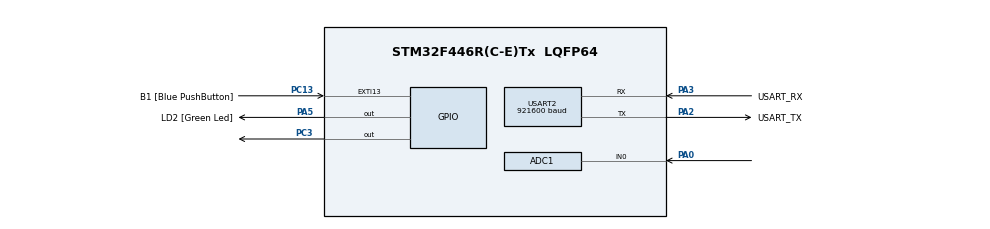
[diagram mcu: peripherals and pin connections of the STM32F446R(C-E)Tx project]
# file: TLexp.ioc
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ADC1.Channel-2\#ChannelRegularConversion=ADC_CHANNEL_0
ADC1.ExternalTrigConv=ADC_EXTERNALTRIGCONV_T2_TRGO
ADC1.InjNumberOfConversion=0
ADC1.NbrOfConversionFlag=1
ADC1.Rank-2\#ChannelRegularConversion=1
ADC1.SamplingTime-2\#ChannelRegularConversion=ADC_SAMPLETIME_56CYCLES
ADC1.master=1
Mcu.Family=STM32F4
Mcu.Name=STM32F446R(C-E)Tx
Mcu.Package=LQFP64
NVIC.ADC_IRQn=true\:0\:0\:false\:false\:true\:true\:true\:true
NVIC.PriorityGroup=NVIC_PRIORITYGROUP_0
NVIC.TIM2_IRQn=true\:0\:0\:false\:false\:true\:true\:true\:true
PA0-WKUP.Signal=ADCx_IN0
PA13.GPIO_Label=TMS
PA13.Mode=Serial_Wire
PA13.Signal=SYS_JTMS-SWDIO
PA14.GPIO_Label=TCK
PA14.Mode=Serial_Wire
PA14.Signal=SYS_JTCK-SWCLK
PA2.GPIO_Label=USART_TX
PA2.Mode=Asynchronous
PA2.Signal=USART2_TX
PA3.GPIO_Label=USART_RX
PA3.Mode=Asynchronous
PA3.Signal=USART2_RX
PA5.GPIO_Label=LD2 [Green Led]
PA5.Signal=GPIO_Output
PB3.GPIO_Label=SWO
PB3.Signal=SYS_JTDO-SWO
PC13.GPIO_Label=B1 [Blue PushButton]
PC13.GPIO_ModeDefaultEXTI=GPIO_MODE_IT_FALLING
PC13.Signal=GPXTI13
PC14-OSC32_IN.Mode=LSE-External-Oscillator
PC14-OSC32_IN.Signal=RCC_OSC32_IN
PC15-OSC32_OUT.Mode=LSE-External-Oscillator
PC15-OSC32_OUT.Signal=RCC_OSC32_OUT
PC3.GPIO_PuPd=GPIO_PULLDOWN
PC3.GPIO_Speed=GPIO_SPEED_FREQ_VERY_HIGH
PC3.PinState=GPIO_PIN_RESET
PC3.Signal=GPIO_Output
PH0-OSC_IN.Mode=HSE-External-Oscillator
PH0-OSC_IN.Signal=RCC_OSC_IN
PH1-OSC_OUT.Mode=HSE-External-Oscillator
PH1-OSC_OUT.Signal=RCC_OSC_OUT
ProjectManager.HeapSize=0x200
ProjectManager.StackSize=0x400
ProjectManager.TargetToolchain=STM32CubeIDE
RCC.CortexFreq_Value=16000000
RCC.USBFreq_Value=96000000
RCC.VCOOutputFreq_Value=192000000
SH.ADCx_IN0.0=ADC1_IN0,IN0
TIM2.Period=179
TIM2.Prescaler=0
TIM2.TIM_MasterOutputTrigger=TIM_TRGO_UPDATE
TIM2.TIM_MasterSlaveMode=TIM_MASTERSLAVEMODE_ENABLE
TIM3.Period=59999
TIM3.Prescaler=2
USART2.BaudRate=921600
USART2.VirtualMode=VM_ASYNC
VP_TIM2_VS_ClockSourceINT.Mode=Internal
VP_TIM3_VS_ClockSourceINT.Mode=Internal
board=NUCLEO-F446RE

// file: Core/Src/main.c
/* USER CODE BEGIN Header */
/**
  ******************************************************************************
  * @file           : main.c
  * @brief          : Main program body
  ******************************************************************************
  * @attention
  *
  * Copyright (c) 2024 STMicroelectronics.
  * All rights reserved.
  *
  * This software is licensed under terms that can be found in the LICENSE file
  * in the root directory of this software component.
  * If no LICENSE file comes with this software, it is provided AS-IS.
  *
  ******************************************************************************
  */
/* USER CODE END Header */
#include "main.h"

/* USER CODE BEGIN Includes */
#include <stdio.h>
#include <stdint.h>
#include <stdlib.h>
#include <math.h>
#include <inttypes.h>
/* USER CODE END Includes */

/* USER CODE BEGIN PD */
#define STRETCH_BUFFER_SIZE 5
/* USER CODE END PD */

ADC_HandleTypeDef hadc1;

TIM_HandleTypeDef htim2;
TIM_HandleTypeDef htim3;

UART_HandleTypeDef huart2;

/* USER CODE BEGIN PV */
volatile uint8_t Tim2Flag = 0;
volatile uint8_t Tim3Flag = 0;
volatile uint8_t stretch_status = 0;
volatile uint8_t adcFlag = 0;

uint32_t adc1ch0 = 0;
uint16_t adc_stretch = 0;
uint16_t stretch = 0;
uint16_t vmax = 4069; // 3.267V 99% charged
uint16_t vtau = 1507; // 1.2144V 63.2% discharge
uint32_t resistance = 1000000;

uint16_t stretch_buffer[STRETCH_BUFFER_SIZE] = {0};
uint8_t buffer_index = 0;
uint16_t cgtime = 0;
/* USER CODE END PV */

void SystemClock_Config(void);
static void MX_GPIO_Init(void);
static void MX_USART2_UART_Init(void);
static void MX_TIM2_Init(void);
static void MX_TIM3_Init(void);
static void MX_ADC1_Init(void);
/* USER CODE BEGIN PFP */
int _write(int file, char* p, int len){
	HAL_UART_Transmit(&huart2, p, len, 10);
	return len;
}
/* USER CODE END PFP */

int main(void)
{

  /* MCU Configuration--------------------------------------------------------*/

  /* Reset of all peripherals, Initializes the Flash interface and the Systick. */
  HAL_Init();

  /* Configure the system clock */
  SystemClock_Config();

  /* Initialize all configured peripherals */
  MX_GPIO_Init();
  MX_USART2_UART_Init();
  MX_TIM2_Init();
  MX_TIM3_Init();
  MX_ADC1_Init();
  /* USER CODE BEGIN 2 */
  HAL_TIM_Base_Start_IT(&htim2);
  HAL_TIM_Base_Start_IT(&htim3);
  HAL_ADC_Start_IT(&hadc1);
  stretch_status = 0;
  /* USER CODE END 2 */

  /* Infinite loop */
  /* USER CODE BEGIN WHILE */
  while (1)
  {
	  //printf("%"PRIu16 "\r\n", adc_stretch);
	  if (adcFlag == 1){
		  adc_stretch = HAL_ADC_GetValue(&hadc1);
		  adcFlag = 0;
		  printf("%"PRIu16 "\r\n", adc_stretch);
		  if (stretch_status == 1){
			  cgtime++;
			  //printf("%"PRIu16 "\r\n", cgtime);
		  }

		  if (adc_stretch >= vmax && stretch_status == 0){
			  HAL_GPIO_WritePin(GPIOC, GPIO_PIN_3, GPIO_PIN_RESET); //Discharging
			  stretch_status = 1; //Sensing start
			  //printf("Hello World!\r\n");
		  }
		  else if (adc_stretch <= vtau && stretch_status == 1){
			  stretch_buffer[buffer_index] = cgtime; //Store data in the buffer
			  buffer_index++;
			  HAL_GPIO_WritePin(GPIOC, GPIO_PIN_3, GPIO_PIN_SET); //Charging
			  cgtime = 0;
			  stretch_status = 0; //Sensing finish
		  }

		  if (buffer_index == STRETCH_BUFFER_SIZE){
			  uint16_t sum = 0;
			  for(int i = 0; i < STRETCH_BUFFER_SIZE; i++){
				  sum += stretch_buffer[i];
			  }
			  stretch = sum / STRETCH_BUFFER_SIZE;
			  //printf("%"PRIu16 "\r\n", stretch);
			  for(int i = 0; i < STRETCH_BUFFER_SIZE; i++){
				  stretch_buffer[i] = 0;
			  }
			  buffer_index = 0;
		  }
	  }

    /* USER CODE END WHILE */

  }
}

void SystemClock_Config(void)
{
  RCC_OscInitTypeDef RCC_OscInitStruct = {0};
  RCC_ClkInitTypeDef RCC_ClkInitStruct = {0};

  /** Configure the main internal regulator output voltage
  */
  __HAL_RCC_PWR_CLK_ENABLE();
  __HAL_PWR_VOLTAGESCALING_CONFIG(PWR_REGULATOR_VOLTAGE_SCALE3);

  /** Initializes the RCC Oscillators according to the specified parameters
  * in the RCC_OscInitTypeDef structure.
  */
  RCC_OscInitStruct.OscillatorType = RCC_OSCILLATORTYPE_HSI;
  RCC_OscInitStruct.HSIState = RCC_HSI_ON;
  RCC_OscInitStruct.HSICalibrationValue = RCC_HSICALIBRATION_DEFAULT;
  RCC_OscInitStruct.PLL.PLLState = RCC_PLL_NONE;
  if (HAL_RCC_OscConfig(&RCC_OscInitStruct) != HAL_OK)
  {
    Error_Handler();
  }

  /** Initializes the CPU, AHB and APB buses clocks
  */
  RCC_ClkInitStruct.ClockType = RCC_CLOCKTYPE_HCLK|RCC_CLOCKTYPE_SYSCLK
                              |RCC_CLOCKTYPE_PCLK1|RCC_CLOCKTYPE_PCLK2;
  RCC_ClkInitStruct.SYSCLKSource = RCC_SYSCLKSOURCE_HSI;
  RCC_ClkInitStruct.AHBCLKDivider = RCC_SYSCLK_DIV1;
  RCC_ClkInitStruct.APB1CLKDivider = RCC_HCLK_DIV1;
  RCC_ClkInitStruct.APB2CLKDivider = RCC_HCLK_DIV1;

  if (HAL_RCC_ClockConfig(&RCC_ClkInitStruct, FLASH_LATENCY_0) != HAL_OK)
  {
    Error_Handler();
  }
}

static void MX_ADC1_Init(void)
{

  ADC_ChannelConfTypeDef sConfig = {0};

  /** Configure the global features of the ADC (Clock, Resolution, Data Alignment and number of conversion)
  */
  hadc1.Instance = ADC1;
  hadc1.Init.ClockPrescaler = ADC_CLOCK_SYNC_PCLK_DIV2;
  hadc1.Init.Resolution = ADC_RESOLUTION_12B;
  hadc1.Init.ScanConvMode = DISABLE;
  hadc1.Init.ContinuousConvMode = DISABLE;
  hadc1.Init.DiscontinuousConvMode = DISABLE;
  hadc1.Init.ExternalTrigConvEdge = ADC_EXTERNALTRIGCONVEDGE_RISING;
  hadc1.Init.ExternalTrigConv = ADC_EXTERNALTRIGCONV_T2_TRGO;
  hadc1.Init.DataAlign = ADC_DATAALIGN_RIGHT;
  hadc1.Init.NbrOfConversion = 1;
  hadc1.Init.DMAContinuousRequests = DISABLE;
  hadc1.Init.EOCSelection = ADC_EOC_SINGLE_CONV;
  if (HAL_ADC_Init(&hadc1) != HAL_OK)
  {
    Error_Handler();
  }

  /** Configure for the selected ADC regular channel its corresponding rank in the sequencer and its sample time.
  */
  sConfig.Channel = ADC_CHANNEL_0;
  sConfig.Rank = 1;
  sConfig.SamplingTime = ADC_SAMPLETIME_56CYCLES;
  if (HAL_ADC_ConfigChannel(&hadc1, &sConfig) != HAL_OK)
  {
    Error_Handler();
  }

}

static void MX_TIM2_Init(void)
{

  TIM_ClockConfigTypeDef sClockSourceConfig = {0};
  TIM_MasterConfigTypeDef sMasterConfig = {0};

  htim2.Instance = TIM2;
  htim2.Init.Prescaler = 0;
  htim2.Init.CounterMode = TIM_COUNTERMODE_UP;
  htim2.Init.Period = 179;
  htim2.Init.ClockDivision = TIM_CLOCKDIVISION_DIV1;
  htim2.Init.AutoReloadPreload = TIM_AUTORELOAD_PRELOAD_DISABLE;
  if (HAL_TIM_Base_Init(&htim2) != HAL_OK)
  {
    Error_Handler();
  }
  sClockSourceConfig.ClockSource = TIM_CLOCKSOURCE_INTERNAL;
  if (HAL_TIM_ConfigClockSource(&htim2, &sClockSourceConfig) != HAL_OK)
  {
    Error_Handler();
  }
  sMasterConfig.MasterOutputTrigger = TIM_TRGO_UPDATE;
  sMasterConfig.MasterSlaveMode = TIM_MASTERSLAVEMODE_ENABLE;
  if (HAL_TIMEx_MasterConfigSynchronization(&htim2, &sMasterConfig) != HAL_OK)
  {
    Error_Handler();
  }

}

static void MX_TIM3_Init(void)
{

  TIM_ClockConfigTypeDef sClockSourceConfig = {0};
  TIM_MasterConfigTypeDef sMasterConfig = {0};

  htim3.Instance = TIM3;
  htim3.Init.Prescaler = 2;
  htim3.Init.CounterMode = TIM_COUNTERMODE_UP;
  htim3.Init.Period = 59999;
  htim3.Init.ClockDivision = TIM_CLOCKDIVISION_DIV1;
  htim3.Init.AutoReloadPreload = TIM_AUTORELOAD_PRELOAD_DISABLE;
  if (HAL_TIM_Base_Init(&htim3) != HAL_OK)
  {
    Error_Handler();
  }
  sClockSourceConfig.ClockSource = TIM_CLOCKSOURCE_INTERNAL;
  if (HAL_TIM_ConfigClockSource(&htim3, &sClockSourceConfig) != HAL_OK)
  {
    Error_Handler();
  }
  sMasterConfig.MasterOutputTrigger = TIM_TRGO_RESET;
  sMasterConfig.MasterSlaveMode = TIM_MASTERSLAVEMODE_DISABLE;
  if (HAL_TIMEx_MasterConfigSynchronization(&htim3, &sMasterConfig) != HAL_OK)
  {
    Error_Handler();
  }

}

static void MX_USART2_UART_Init(void)
{

  huart2.Instance = USART2;
  huart2.Init.BaudRate = 921600;
  huart2.Init.WordLength = UART_WORDLENGTH_8B;
  huart2.Init.StopBits = UART_STOPBITS_1;
  huart2.Init.Parity = UART_PARITY_NONE;
  huart2.Init.Mode = UART_MODE_TX_RX;
  huart2.Init.HwFlowCtl = UART_HWCONTROL_NONE;
  huart2.Init.OverSampling = UART_OVERSAMPLING_16;
  if (HAL_UART_Init(&huart2) != HAL_OK)
  {
    Error_Handler();
  }

}

static void MX_GPIO_Init(void)
{
  GPIO_InitTypeDef GPIO_InitStruct = {0};

  /* GPIO Ports Clock Enable */
  __HAL_RCC_GPIOC_CLK_ENABLE();
  __HAL_RCC_GPIOH_CLK_ENABLE();
  __HAL_RCC_GPIOA_CLK_ENABLE();
  __HAL_RCC_GPIOB_CLK_ENABLE();

  /*Configure GPIO pin Output Level */
  HAL_GPIO_WritePin(GPIOC, GPIO_PIN_3, GPIO_PIN_RESET);

  /*Configure GPIO pin Output Level */
  HAL_GPIO_WritePin(LD2_GPIO_Port, LD2_Pin, GPIO_PIN_RESET);

  /*Configure GPIO pin : B1_Pin */
  GPIO_InitStruct.Pin = B1_Pin;
  GPIO_InitStruct.Mode = GPIO_MODE_IT_FALLING;
  GPIO_InitStruct.Pull = GPIO_NOPULL;
  HAL_GPIO_Init(B1_GPIO_Port, &GPIO_InitStruct);

  /*Configure GPIO pin : PC3 */
  GPIO_InitStruct.Pin = GPIO_PIN_3;
  GPIO_InitStruct.Mode = GPIO_MODE_OUTPUT_PP;
  GPIO_InitStruct.Pull = GPIO_PULLDOWN;
  GPIO_InitStruct.Speed = GPIO_SPEED_FREQ_VERY_HIGH;
  HAL_GPIO_Init(GPIOC, &GPIO_InitStruct);

  /*Configure GPIO pin : LD2_Pin */
  GPIO_InitStruct.Pin = LD2_Pin;
  GPIO_InitStruct.Mode = GPIO_MODE_OUTPUT_PP;
  GPIO_InitStruct.Pull = GPIO_NOPULL;
  GPIO_InitStruct.Speed = GPIO_SPEED_FREQ_LOW;
  HAL_GPIO_Init(LD2_GPIO_Port, &GPIO_InitStruct);

}

/* USER CODE BEGIN 4 */
void HAL_TIM_PeriodElapsedCallback(TIM_HandleTypeDef *htim){
	if(htim->Instance==TIM2){
		Tim2Flag = 1;
	}
	if(htim->Instance==TIM3){
		Tim3Flag = 1;
	}
}

void HAL_ADC_ConvCpltCallback(ADC_HandleTypeDef* hadc){
	if(hadc->Instance == ADC1){
		adcFlag = 1;
	}
}
/* USER CODE END 4 */

void Error_Handler(void)
{
  __disable_irq();
  while (1)
  {
  }
}
